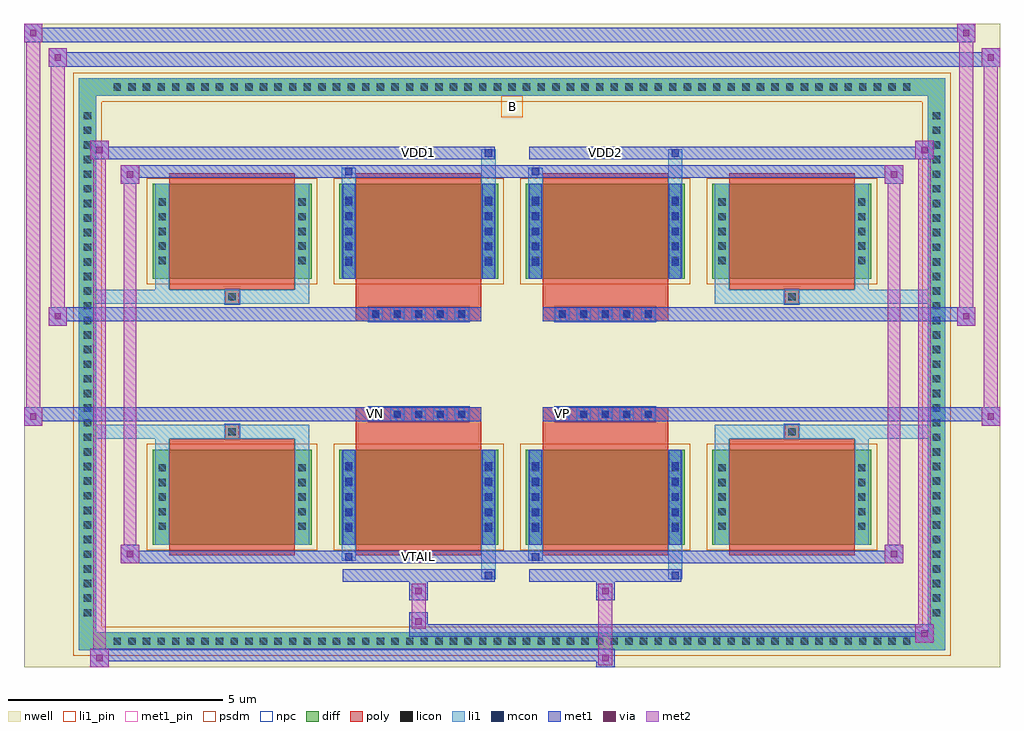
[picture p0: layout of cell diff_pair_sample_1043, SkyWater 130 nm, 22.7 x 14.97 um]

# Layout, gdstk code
import gdstk
lib = gdstk.Library(unit=1e-6, precision=5e-09)
def R(c, l, rs):  # rectangles x0, y0, x1, y1
    for r in rs: c.add(gdstk.rectangle(r[:2], r[2:], *l))
def A(c, l, x, y, w, h, nx, ny, dx, dy):  # array of equal rectangles
    R(c, l, [(x+i*dx, y+j*dy, x+i*dx+w, y+j*dy+h) for i in range(nx) for j in range(ny)])
def P(c, l, *ps):  # polygons
    for p in ps: c.add(gdstk.Polygon(p, *l))
nwell = (64, 20)
diff = (65, 20)
poly = (66, 20)
licon = (66, 44)
li1_pin = (67, 16)
li1 = (67, 20)
mcon = (67, 44)
met1_pin = (68, 16)
met1 = (68, 20)
via = (68, 44)
met2 = (69, 20)
psdm = (94, 20)
npc = (95, 20)

diff_pair_sample_1043 = lib.new_cell('diff_pair_sample_1043')
R(diff_pair_sample_1043, nwell, [(-11.35,-7.05,11.35,7.92), (-8.67,-5.24,-0.01,-0.8), (0.01,-5.24,8.67,-0.8), (-8.67,0.8,-0.01,5.24), (0.01,0.8,8.67,5.24)])
A(diff_pair_sample_1043, diff, -9.385, -6.65, 0.41, 0.41, 55, 2, 0.34, 12.89)
A(diff_pair_sample_1043, diff, -10.08, -5.985, 0.41, 0.41, 1, 35, 0, 0.34)
A(diff_pair_sample_1043, diff, 9.67, -5.985, 0.41, 0.41, 1, 35, 0, 0.34)
A(diff_pair_sample_1043, diff, -8.36, -4.195, 3.7, 2.21, 4, 2, 4.34, 6.18)
R(diff_pair_sample_1043, diff, [(-9.385,-6.65,9.385,-6.24), (-10.08,-5.985,-9.67,5.985), (9.67,-5.985,10.08,5.985), (-9.385,6.24,9.385,6.65)])
P(diff_pair_sample_1043, diff, [(10.08,6.65),(-10.08,6.65),(-10.08,-6.24),(-9.67,-6.24),(-9.67,6.24),(9.67,6.24),(9.67,-6.24),(-9.67,-6.24),(-10.08,-6.24),(-10.08,-6.65),(10.08,-6.65)])
A(diff_pair_sample_1043, poly, -7.97, -4.445, 2.92, 2.71, 4, 2, 4.34, 6.18)
A(diff_pair_sample_1043, poly, -3.335, -1.33, 0.33, 0.33, 5, 2, 0.5, 2.33)
A(diff_pair_sample_1043, poly, 1.005, -1.33, 0.33, 0.33, 5, 2, 0.5, 2.33)
R(diff_pair_sample_1043, poly, [(-6.675,-1.735,-6.345,-1.405), (-6.675,-1.735,-6.345,-1.405), (-3.63,-1.735,-0.71,-1.33), (0.71,-1.735,3.63,-1.33), (6.345,-1.735,6.675,-1.405), (6.345,-1.735,6.675,-1.405), (-3.63,-1.33,-0.71,-1), (0.71,-1.33,3.63,-1), (-3.63,1,-0.71,1.33), (0.71,1,3.63,1.33), (-3.63,1.33,-0.71,1.735), (0.71,1.33,3.63,1.735), (-6.675,1.405,-6.345,1.735), (-6.675,1.405,-6.345,1.735), (6.345,1.405,6.675,1.735), (6.345,1.405,6.675,1.735)])
A(diff_pair_sample_1043, licon, -9.265, -6.53, 0.17, 0.17, 55, 2, 0.34, 12.89)
A(diff_pair_sample_1043, licon, -9.96, -5.865, 0.17, 0.17, 1, 35, 0, 0.34)
A(diff_pair_sample_1043, licon, 9.79, -5.865, 0.17, 0.17, 1, 35, 0, 0.34)
A(diff_pair_sample_1043, licon, -8.22, -3.855, 0.17, 0.17, 1, 5, 0, 0.34)
A(diff_pair_sample_1043, licon, -4.97, -3.855, 0.17, 0.17, 1, 5, 0, 0.34)
A(diff_pair_sample_1043, licon, -3.88, -3.855, 0.17, 0.17, 1, 5, 0, 0.34)
A(diff_pair_sample_1043, licon, -0.63, -3.855, 0.17, 0.17, 1, 5, 0, 0.34)
A(diff_pair_sample_1043, licon, 0.46, -3.855, 0.17, 0.17, 1, 5, 0, 0.34)
A(diff_pair_sample_1043, licon, 3.71, -3.855, 0.17, 0.17, 1, 5, 0, 0.34)
A(diff_pair_sample_1043, licon, 4.8, -3.855, 0.17, 0.17, 1, 5, 0, 0.34)
A(diff_pair_sample_1043, licon, 8.05, -3.855, 0.17, 0.17, 1, 5, 0, 0.34)
A(diff_pair_sample_1043, licon, -3.255, -1.25, 0.17, 0.17, 5, 2, 0.5, 2.33)
A(diff_pair_sample_1043, licon, 1.085, -1.25, 0.17, 0.17, 5, 2, 0.5, 2.33)
A(diff_pair_sample_1043, licon, -8.22, 2.325, 0.17, 0.17, 1, 5, 0, 0.34)
A(diff_pair_sample_1043, licon, -4.97, 2.325, 0.17, 0.17, 1, 5, 0, 0.34)
A(diff_pair_sample_1043, licon, -3.88, 2.325, 0.17, 0.17, 1, 5, 0, 0.34)
A(diff_pair_sample_1043, licon, -0.63, 2.325, 0.17, 0.17, 1, 5, 0, 0.34)
A(diff_pair_sample_1043, licon, 0.46, 2.325, 0.17, 0.17, 1, 5, 0, 0.34)
A(diff_pair_sample_1043, licon, 3.71, 2.325, 0.17, 0.17, 1, 5, 0, 0.34)
A(diff_pair_sample_1043, licon, 4.8, 2.325, 0.17, 0.17, 1, 5, 0, 0.34)
A(diff_pair_sample_1043, licon, 8.05, 2.325, 0.17, 0.17, 1, 5, 0, 0.34)
R(diff_pair_sample_1043, licon, [(-6.595,-1.655,-6.425,-1.485), (6.425,-1.655,6.595,-1.485), (-6.595,1.485,-6.425,1.655), (6.425,1.485,6.595,1.655)])
R(diff_pair_sample_1043, li1_pin, [(-0.25,5.74,0.25,6.24)])
A(diff_pair_sample_1043, li1, -9.345, -6.61, 0.33, 0.33, 55, 2, 0.34, 12.89)
A(diff_pair_sample_1043, li1, -10.04, -5.945, 0.33, 0.33, 1, 35, 0, 0.34)
A(diff_pair_sample_1043, li1, 9.71, -5.945, 0.33, 0.33, 1, 35, 0, 0.34)
A(diff_pair_sample_1043, li1, -8.3, -3.935, 0.33, 0.33, 1, 5, 0, 0.34)
A(diff_pair_sample_1043, li1, -5.05, -3.935, 0.33, 0.33, 1, 5, 0, 0.34)
A(diff_pair_sample_1043, li1, -3.96, -3.935, 0.33, 0.33, 1, 5, 0, 0.34)
A(diff_pair_sample_1043, li1, -0.71, -3.935, 0.33, 0.33, 1, 5, 0, 0.34)
A(diff_pair_sample_1043, li1, 0.38, -3.935, 0.33, 0.33, 1, 5, 0, 0.34)
A(diff_pair_sample_1043, li1, 3.63, -3.935, 0.33, 0.33, 1, 5, 0, 0.34)
A(diff_pair_sample_1043, li1, 4.72, -3.935, 0.33, 0.33, 1, 5, 0, 0.34)
A(diff_pair_sample_1043, li1, 7.97, -3.935, 0.33, 0.33, 1, 5, 0, 0.34)
A(diff_pair_sample_1043, li1, -3.88, -3.895, 0.17, 0.17, 1, 5, 0, 0.36)
A(diff_pair_sample_1043, li1, -0.63, -3.895, 0.17, 0.17, 1, 5, 0, 0.36)
A(diff_pair_sample_1043, li1, 0.46, -3.895, 0.17, 0.17, 1, 5, 0, 0.36)
A(diff_pair_sample_1043, li1, 3.71, -3.895, 0.17, 0.17, 1, 5, 0, 0.36)
A(diff_pair_sample_1043, li1, -3.335, -1.33, 0.33, 0.33, 5, 2, 0.5, 2.33)
A(diff_pair_sample_1043, li1, 1.005, -1.33, 0.33, 0.33, 5, 2, 0.5, 2.33)
A(diff_pair_sample_1043, li1, -8.3, 2.245, 0.33, 0.33, 1, 5, 0, 0.34)
A(diff_pair_sample_1043, li1, -5.05, 2.245, 0.33, 0.33, 1, 5, 0, 0.34)
A(diff_pair_sample_1043, li1, -3.96, 2.245, 0.33, 0.33, 1, 5, 0, 0.34)
A(diff_pair_sample_1043, li1, -0.71, 2.245, 0.33, 0.33, 1, 5, 0, 0.34)
A(diff_pair_sample_1043, li1, 0.38, 2.245, 0.33, 0.33, 1, 5, 0, 0.34)
A(diff_pair_sample_1043, li1, 3.63, 2.245, 0.33, 0.33, 1, 5, 0, 0.34)
A(diff_pair_sample_1043, li1, 4.72, 2.245, 0.33, 0.33, 1, 5, 0, 0.34)
A(diff_pair_sample_1043, li1, 7.97, 2.245, 0.33, 0.33, 1, 5, 0, 0.34)
A(diff_pair_sample_1043, li1, -3.88, 2.285, 0.17, 0.17, 1, 5, 0, 0.36)
A(diff_pair_sample_1043, li1, -0.63, 2.285, 0.17, 0.17, 1, 5, 0, 0.36)
A(diff_pair_sample_1043, li1, 0.46, 2.285, 0.17, 0.17, 1, 5, 0, 0.36)
A(diff_pair_sample_1043, li1, 3.71, 2.285, 0.17, 0.17, 1, 5, 0, 0.36)
R(diff_pair_sample_1043, li1, [(-10.08,-6.65,-9.67,-6.24), (-10.08,-6.65,-9.67,-6.24), (-9.67,-6.65,9.67,-6.24), (9.67,-6.65,10.08,-6.24), (9.67,-6.65,10.08,-6.24), (-10.08,-6.24,-9.67,6.24), (9.67,-6.24,10.08,6.24), (-0.71,-5,-0.38,-4.195), (-0.63,-5,-0.46,-4.83), (3.63,-5,3.96,-4.195), (3.71,-5,3.88,-4.83), (-3.96,-4.57,-3.63,-4.195), (-3.88,-4.57,-3.71,-4.4), (0.38,-4.57,0.71,-4.195), (0.46,-4.57,0.63,-4.4), (-8.3,-4.195,-7.97,-1.985), (-5.05,-4.195,-4.72,-1.985), (-3.96,-4.195,-3.63,-1.985), (-0.71,-4.195,-0.38,-1.985), (0.38,-4.195,0.71,-1.985), (3.63,-4.195,3.96,-1.985), (4.72,-4.195,5.05,-1.985), (7.97,-4.195,8.3,-1.985), (-3.88,-3.895,-3.71,-2.285), (-0.63,-3.895,-0.46,-2.285), (0.46,-3.895,0.63,-2.285), (3.71,-3.895,3.88,-2.285), (-8.3,-1.985,-7.97,-1.405), (-5.05,-1.985,-4.72,-1.405), (4.72,-1.985,5.05,-1.405), (7.97,-1.985,8.3,-1.405), (-10.08,-1.735,-6.675,-1.405), (-8.3,-1.735,-6.675,-1.405), (-6.675,-1.735,-6.345,-1.405), (-6.345,-1.735,-4.72,-1.405), (4.72,-1.735,6.345,-1.405), (6.345,-1.735,6.675,-1.405), (6.345,-1.735,10.08,-1.405), (6.675,-1.735,8.3,-1.405), (-10.08,1.405,-6.675,1.735), (-8.3,1.405,-6.675,1.735), (-8.3,1.405,-7.97,1.985), (-6.675,1.405,-6.345,1.735), (-6.345,1.405,-4.72,1.735), (-5.05,1.405,-4.72,1.985), (4.72,1.405,6.345,1.735), (4.72,1.405,5.05,1.985), (6.345,1.405,6.675,1.735), (6.345,1.405,10.08,1.735), (6.675,1.405,8.3,1.735), (7.97,1.405,8.3,1.985), (-8.3,1.985,-7.97,4.195), (-5.05,1.985,-4.72,4.195), (-3.96,1.985,-3.63,4.195), (-0.71,1.985,-0.38,4.195), (0.38,1.985,0.71,4.195), (3.63,1.985,3.96,4.195), (4.72,1.985,5.05,4.195), (7.97,1.985,8.3,4.195), (-3.88,2.285,-3.71,3.895), (-0.63,2.285,-0.46,3.895), (0.46,2.285,0.63,3.895), (3.71,2.285,3.88,3.895), (-3.96,4.195,-3.63,4.57), (-0.71,4.195,-0.38,5), (0.38,4.195,0.71,4.57), (3.63,4.195,3.96,5), (-3.88,4.4,-3.71,4.57), (0.46,4.4,0.63,4.57), (-0.63,4.83,-0.46,5), (3.71,4.83,3.88,5), (-10.08,6.24,-9.67,6.65), (-10.08,6.24,-9.67,6.65), (-9.67,6.24,9.67,6.65), (9.67,6.24,10.08,6.65), (9.67,6.24,10.08,6.65)])
A(diff_pair_sample_1043, mcon, -3.88, -3.895, 0.17, 0.17, 1, 5, 0, 0.36)
A(diff_pair_sample_1043, mcon, -0.63, -3.895, 0.17, 0.17, 1, 5, 0, 0.36)
A(diff_pair_sample_1043, mcon, 0.46, -3.895, 0.17, 0.17, 1, 5, 0, 0.36)
A(diff_pair_sample_1043, mcon, 3.71, -3.895, 0.17, 0.17, 1, 5, 0, 0.36)
A(diff_pair_sample_1043, mcon, -3.255, -1.25, 0.17, 0.17, 5, 2, 0.5, 2.33)
A(diff_pair_sample_1043, mcon, 1.085, -1.25, 0.17, 0.17, 5, 2, 0.5, 2.33)
A(diff_pair_sample_1043, mcon, -3.88, 2.285, 0.17, 0.17, 1, 5, 0, 0.36)
A(diff_pair_sample_1043, mcon, -0.63, 2.285, 0.17, 0.17, 1, 5, 0, 0.36)
A(diff_pair_sample_1043, mcon, 0.46, 2.285, 0.17, 0.17, 1, 5, 0, 0.36)
A(diff_pair_sample_1043, mcon, 3.71, 2.285, 0.17, 0.17, 1, 5, 0, 0.36)
R(diff_pair_sample_1043, mcon, [(-0.63,-5,-0.46,-4.83), (3.71,-5,3.88,-4.83), (-3.88,-4.57,-3.71,-4.4), (0.46,-4.57,0.63,-4.4), (-3.88,4.4,-3.71,4.57), (0.46,4.4,0.63,4.57), (-0.63,4.83,-0.46,5), (3.71,4.83,3.88,5)])
R(diff_pair_sample_1043, met1_pin, [(-2.305,-4.61,-2.035,-4.34), (-3.305,-1.29,-3.035,-1.02), (1.035,-1.29,1.305,-1.02), (-2.305,4.79,-2.035,5.06), (2.035,4.79,2.305,5.06)])
A(diff_pair_sample_1043, met1, -3.94, -3.955, 0.29, 0.29, 1, 5, 0, 0.36)
A(diff_pair_sample_1043, met1, -0.69, -3.955, 0.29, 0.29, 1, 5, 0, 0.36)
A(diff_pair_sample_1043, met1, 0.4, -3.955, 0.29, 0.29, 1, 5, 0, 0.36)
A(diff_pair_sample_1043, met1, 3.65, -3.955, 0.29, 0.29, 1, 5, 0, 0.36)
A(diff_pair_sample_1043, met1, -3.315, -1.31, 0.29, 0.29, 5, 2, 0.5, 2.33)
A(diff_pair_sample_1043, met1, 1.025, -1.31, 0.29, 0.29, 5, 2, 0.5, 2.33)
A(diff_pair_sample_1043, met1, -3.94, 2.225, 0.29, 0.29, 1, 5, 0, 0.36)
A(diff_pair_sample_1043, met1, -0.69, 2.225, 0.29, 0.29, 1, 5, 0, 0.36)
A(diff_pair_sample_1043, met1, 0.4, 2.225, 0.29, 0.29, 1, 5, 0, 0.36)
A(diff_pair_sample_1043, met1, 3.65, 2.225, 0.29, 0.29, 1, 5, 0, 0.36)
R(diff_pair_sample_1043, met1, [(-9.81,-7.05,-9.38,-6.62), (1.955,-7.05,2.385,-6.62), (-9.81,-6.91,2.385,-6.62), (9.38,-6.48,9.81,-6.05), (-2.385,-6.34,9.81,-6.05), (-2.385,-6.2,-1.955,-5.77), (-2.385,-5.49,-1.955,-5.06), (1.955,-5.49,2.385,-5.06), (-3.94,-5.06,-0.4,-4.77), (-0.69,-5.06,-0.4,-4.77), (0.4,-5.06,3.94,-4.77), (3.65,-5.06,3.94,-4.77), (-9.1,-4.63,-8.67,-4.2), (-9.1,-4.63,-3.94,-4.34), (-3.94,-4.63,-3.65,-4.34), (-3.94,-4.63,-0.4,-4.34), (-0.4,-4.63,0.4,-4.34), (0.4,-4.63,0.69,-4.34), (0.4,-4.63,3.94,-4.34), (3.94,-4.63,9.1,-4.34), (8.67,-4.63,9.1,-4.2), (-3.94,-4.195,-3.65,-1.985), (-0.69,-4.195,-0.4,-1.985), (0.4,-4.195,0.69,-1.985), (3.65,-4.195,3.94,-1.985), (-11.35,-1.43,-10.92,-1), (10.92,-1.43,11.35,-1), (-11.35,-1.33,-0.71,-1), (-3.63,-1.33,-0.71,-1), (0.71,-1.33,3.63,-1), (0.71,-1.33,11.35,-1), (-10.78,0.9,-10.35,1.33), (10.35,0.9,10.78,1.33), (-10.78,1,-3.63,1.33), (-3.63,1,-0.71,1.33), (0.71,1,3.63,1.33), (3.63,1,10.78,1.33), (-3.94,1.985,-3.65,4.195), (-0.69,1.985,-0.4,4.195), (0.4,1.985,0.69,4.195), (3.65,1.985,3.94,4.195), (-9.1,4.2,-8.67,4.63), (8.67,4.2,9.1,4.63), (-9.1,4.34,-3.94,4.63), (-3.94,4.34,-3.65,4.63), (-3.94,4.34,-0.4,4.63), (-0.4,4.34,0.4,4.63), (0.4,4.34,0.69,4.63), (0.4,4.34,3.94,4.63), (3.94,4.34,9.1,4.63), (-9.81,4.77,-9.38,5.2), (-9.81,4.77,-3.94,5.06), (-3.94,4.77,-0.4,5.06), (-0.69,4.77,-0.4,5.06), (0.4,4.77,3.94,5.06), (3.65,4.77,3.94,5.06), (3.94,4.77,9.81,5.06), (9.38,4.77,9.81,5.2), (-10.78,6.92,-10.35,7.35), (-10.78,6.92,-8.67,7.25), (-8.67,6.92,8.67,7.25), (8.67,6.92,11.35,7.25), (10.92,6.92,11.35,7.35), (-11.35,7.49,-10.92,7.92), (-11.35,7.49,-8.67,7.82), (-8.67,7.49,8.67,7.82), (8.67,7.49,10.78,7.82), (10.35,7.49,10.78,7.92)])
R(diff_pair_sample_1043, via, [(-9.67,-6.91,-9.52,-6.76), (2.095,-6.91,2.245,-6.76), (9.52,-6.34,9.67,-6.19), (-2.245,-6.06,-2.095,-5.91), (-2.245,-5.35,-2.095,-5.2), (2.095,-5.35,2.245,-5.2), (-8.96,-4.49,-8.81,-4.34), (8.81,-4.49,8.96,-4.34), (-11.21,-1.29,-11.06,-1.14), (11.06,-1.29,11.21,-1.14), (-10.64,1.04,-10.49,1.19), (10.49,1.04,10.64,1.19), (-8.96,4.34,-8.81,4.49), (8.81,4.34,8.96,4.49), (-9.67,4.91,-9.52,5.06), (9.52,4.91,9.67,5.06), (-10.64,7.06,-10.49,7.21), (11.06,7.06,11.21,7.21), (-11.21,7.63,-11.06,7.78), (10.49,7.63,10.64,7.78)])
R(diff_pair_sample_1043, met2, [(-9.81,-7.05,-9.38,-6.62), (-9.74,-7.05,-9.45,5.2), (-9.45,-7.05,-9.38,-6.62), (-9.76,-7,-9.43,-6.67), (2.005,-7,2.335,-6.67), (2.005,-6.67,2.335,-5.44), (9.38,-6.48,9.81,-6.05), (9.45,-6.48,9.74,5.2), (9.74,-6.48,9.81,-6.05), (9.43,-6.43,9.76,-6.1), (-2.335,-6.15,-2.005,-5.82), (-2.335,-5.82,-2.005,-5.44), (-2.335,-5.44,-2.005,-5.11), (2.005,-5.44,2.335,-5.11), (-9.1,-4.63,-8.67,-4.2), (-9.03,-4.63,-8.74,4.63), (-8.74,-4.63,-8.67,-4.2), (8.67,-4.63,9.1,-4.2), (8.74,-4.63,9.03,4.63), (9.03,-4.63,9.1,-4.2), (-9.05,-4.58,-8.72,-4.25), (8.72,-4.58,9.05,-4.25), (-11.35,-1.43,-10.92,-1), (-11.3,-1.43,-10.97,7.92), (-10.97,-1.43,-10.92,-1), (10.92,-1.43,11.35,-1), (10.97,-1.43,11.3,7.35), (11.3,-1.43,11.35,-1), (-11.3,-1.38,-10.97,-1.05), (10.97,-1.38,11.3,-1.05), (-10.78,0.9,-10.35,1.33), (-10.73,0.9,-10.4,7.35), (-10.4,0.9,-10.35,1.33), (10.35,0.9,10.78,1.33), (10.4,0.9,10.73,7.92), (10.73,0.9,10.78,1.33), (-10.73,0.95,-10.4,1.28), (10.4,0.95,10.73,1.28), (-9.1,4.2,-8.67,4.63), (-8.74,4.2,-8.67,4.63), (8.67,4.2,9.1,4.63), (9.03,4.2,9.1,4.63), (-9.05,4.25,-8.72,4.58), (8.72,4.25,9.05,4.58), (-9.81,4.77,-9.38,5.2), (-9.45,4.77,-9.38,5.2), (9.38,4.77,9.81,5.2), (9.74,4.77,9.81,5.2), (-9.76,4.82,-9.43,5.15), (9.43,4.82,9.76,5.15), (-10.78,6.92,-10.35,7.35), (-10.4,6.92,-10.35,7.35), (10.92,6.92,11.35,7.35), (11.3,6.92,11.35,7.35), (-10.73,6.97,-10.4,7.3), (10.97,6.97,11.3,7.3), (-11.35,7.49,-10.92,7.92), (-10.97,7.49,-10.92,7.92), (10.35,7.49,10.78,7.92), (10.73,7.49,10.78,7.92), (-11.3,7.54,-10.97,7.87), (10.4,7.54,10.73,7.87)])
A(diff_pair_sample_1043, psdm, -8.49, -4.325, 3.96, 2.47, 4, 2, 4.34, 6.18)
P(diff_pair_sample_1043, psdm, [(10.21,6.78),(-10.21,6.78),(-10.21,-6.11),(-9.54,-6.11),(-9.54,6.11),(9.54,6.11),(9.54,-6.11),(-9.54,-6.11),(-10.21,-6.11),(-10.21,-6.78),(10.21,-6.78)])
A(diff_pair_sample_1043, npc, -3.355, -1.35, 0.37, 0.37, 5, 2, 0.5, 2.33)
A(diff_pair_sample_1043, npc, 0.985, -1.35, 0.37, 0.37, 5, 2, 0.5, 2.33)
R(diff_pair_sample_1043, npc, [(-6.695,-1.755,-6.325,-1.385), (6.325,-1.755,6.695,-1.385), (-3.355,-1.35,-2.485,-0.98), (-3.355,-1.35,-2.485,-0.98), (-2.855,-1.35,-1.985,-0.98), (-2.855,-1.35,-1.985,-0.98), (-2.355,-1.35,-1.485,-0.98), (-2.355,-1.35,-1.485,-0.98), (-1.855,-1.35,-0.985,-0.98), (-1.855,-1.35,-0.985,-0.98), (0.985,-1.35,1.855,-0.98), (0.985,-1.35,1.855,-0.98), (1.485,-1.35,2.355,-0.98), (1.485,-1.35,2.355,-0.98), (1.985,-1.35,2.855,-0.98), (1.985,-1.35,2.855,-0.98), (2.485,-1.35,3.355,-0.98), (2.485,-1.35,3.355,-0.98), (-3.355,0.98,-2.485,1.35), (-3.355,0.98,-2.485,1.35), (-2.855,0.98,-1.985,1.35), (-2.855,0.98,-1.985,1.35), (-2.355,0.98,-1.485,1.35), (-2.355,0.98,-1.485,1.35), (-1.855,0.98,-0.985,1.35), (-1.855,0.98,-0.985,1.35), (0.985,0.98,1.855,1.35), (0.985,0.98,1.855,1.35), (1.485,0.98,2.355,1.35), (1.485,0.98,2.355,1.35), (1.985,0.98,2.855,1.35), (1.985,0.98,2.855,1.35), (2.485,0.98,3.355,1.35), (2.485,0.98,3.355,1.35), (-6.695,1.385,-6.325,1.755), (6.325,1.385,6.695,1.755)])
diff_pair_sample_1043.add(gdstk.Label('VTAIL', (-2.17,-4.475), layer=68, texttype=5))
diff_pair_sample_1043.add(gdstk.Label('VN', (-3.17,-1.155), layer=68, texttype=5))
diff_pair_sample_1043.add(gdstk.Label('VP', (1.17,-1.155), layer=68, texttype=5))
diff_pair_sample_1043.add(gdstk.Label('B', (0,5.99), layer=67, texttype=5))
diff_pair_sample_1043.add(gdstk.Label('VDD2', (2.17,4.925), layer=68, texttype=5))
diff_pair_sample_1043.add(gdstk.Label('VDD1', (-2.17,4.925), layer=68, texttype=5))

lib.write_gds('diff_pair_sample_1043.gds')
